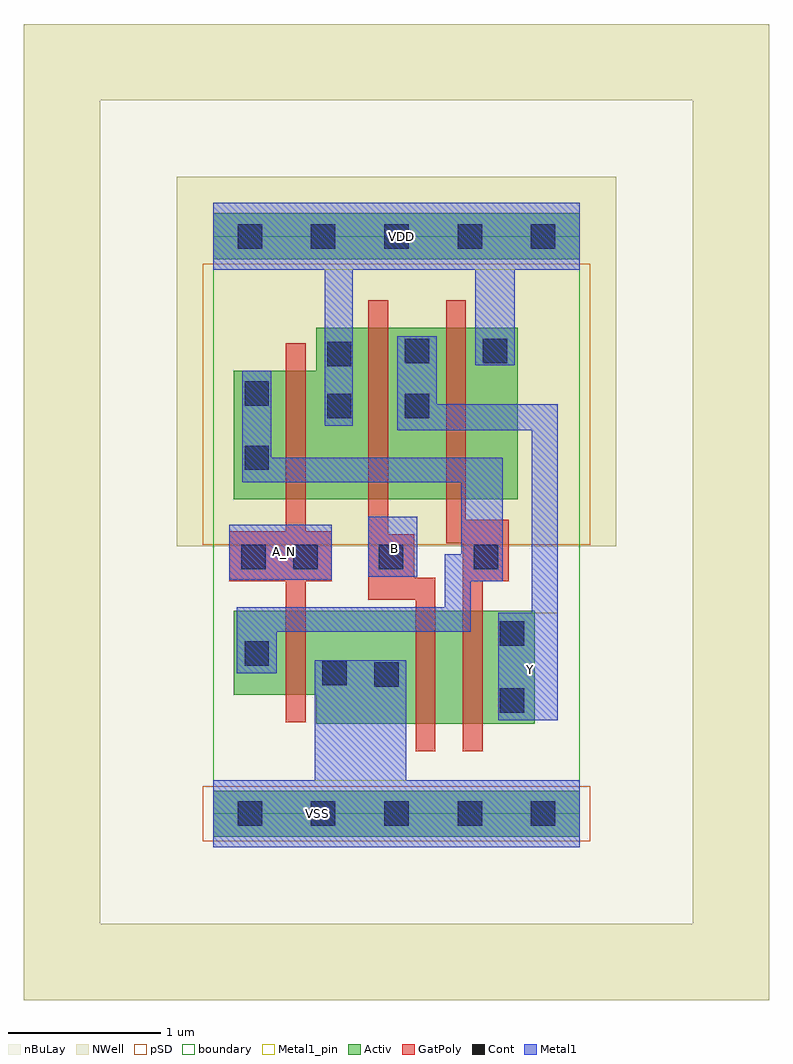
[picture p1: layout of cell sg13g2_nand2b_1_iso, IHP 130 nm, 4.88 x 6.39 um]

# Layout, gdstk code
import gdstk
lib = gdstk.Library(unit=1e-6, precision=1e-09)
def R(c, l, rs):  # rectangles x0, y0, x1, y1
    for r in rs: c.add(gdstk.rectangle(r[:2], r[2:], *l))
def P(c, l, *ps):  # polygons
    for p in ps: c.add(gdstk.Polygon(p, *l))
Activ = (1, 0)
GatPoly = (5, 0)
Cont = (6, 0)
Metal1 = (8, 0)
Metal1_pin = (8, 2)
pSD = (14, 0)
NWell = (31, 0)
nBuLay = (32, 0)
boundary = (189, 4)

sg13g2_nand2b_1_iso = lib.new_cell('sg13g2_nand2b_1_iso')
R(sg13g2_nand2b_1_iso, Activ, [(0,-0.15,2.4,0.15), (0,3.63,2.4,3.93)])
P(sg13g2_nand2b_1_iso, Activ, [(1.995,3.18),(0.675,3.18),(0.675,2.9),(0.135,2.9),(0.135,2.06),(1.995,2.06)],
  [(2.105,1.33),(0.135,1.33),(0.135,0.78),(0.675,0.78),(0.675,0.59),(2.105,0.59)])
P(sg13g2_nand2b_1_iso, GatPoly, [(1.935,1.925),(1.655,1.925),(1.655,3.36),(1.525,3.36),(1.525,1.77),(1.635,1.77),(1.635,0.41),(1.765,0.41),(1.765,1.52),(1.935,1.52)],
  [(1.455,1.545),(1.315,1.545),(1.315,1.83),(1.145,1.83),(1.145,3.36),(1.015,3.36),(1.015,1.4),(1.325,1.4),(1.325,0.41),(1.455,0.41)],
  [(0.775,1.85),(0.605,1.85),(0.605,3.08),(0.475,3.08),(0.475,1.85),(0.105,1.85),(0.105,1.52),(0.475,1.52),(0.475,0.6),(0.605,0.6),(0.605,1.52),(0.775,1.52)])
R(sg13g2_nand2b_1_iso, Cont, [(0.16,-0.08,0.32,0.08), (0.16,-0.08,0.32,0.08), (0.64,-0.08,0.8,0.08), (0.64,-0.08,0.8,0.08), (1.12,-0.08,1.28,0.08), (1.12,-0.08,1.28,0.08), (1.6,-0.08,1.76,0.08), (1.6,-0.08,1.76,0.08), (2.08,-0.08,2.24,0.08), (2.08,-0.08,2.24,0.08), (1.875,0.66,2.035,0.82), (1.055,0.83,1.215,0.99), (0.715,0.84,0.875,1), (0.205,0.97,0.365,1.13), (1.875,1.1,2.035,1.26), (0.185,1.6,0.345,1.76), (0.525,1.6,0.685,1.76), (1.085,1.6,1.245,1.76), (1.705,1.6,1.865,1.76), (0.205,2.25,0.365,2.41), (0.745,2.59,0.905,2.75), (1.255,2.59,1.415,2.75), (0.205,2.67,0.365,2.83), (0.745,2.93,0.905,3.09), (1.255,2.95,1.415,3.11), (1.765,2.95,1.925,3.11), (0.16,3.7,0.32,3.86), (0.16,3.7,0.32,3.86), (0.64,3.7,0.8,3.86), (0.64,3.7,0.8,3.86), (1.12,3.7,1.28,3.86), (1.12,3.7,1.28,3.86), (1.6,3.7,1.76,3.86), (1.6,3.7,1.76,3.86), (2.08,3.7,2.24,3.86), (2.08,3.7,2.24,3.86)])
R(sg13g2_nand2b_1_iso, Metal1, [(0.105,1.53,0.775,1.89), (1.015,1.55,1.335,1.945)])
P(sg13g2_nand2b_1_iso, Metal1, [(1.205,2.51),(1.205,3.125),(1.465,3.125),(1.465,2.68),(2.255,2.68),(2.255,0.61),(1.865,0.61),(1.865,1.315),(2.085,1.315),(2.085,2.51)],
  [(0.665,0.22),(0.665,1.005),(1.265,1.005),(1.265,0.22),(2.4,0.22),(2.4,-0.22),(0,-0.22),(0,0.22)],
  [(0.73,2.54),(0.73,3.56),(0,3.56),(0,4),(2.4,4),(2.4,3.56),(1.975,3.56),(1.975,2.935),(1.715,2.935),(1.715,3.56),(0.915,3.56),(0.915,2.54)],
  [(1.895,2.33),(0.38,2.33),(0.38,2.9),(0.19,2.9),(0.19,2.17),(1.625,2.17),(1.625,1.7),(1.515,1.7),(1.515,1.35),(0.155,1.35),(0.155,0.92),(0.415,0.92),(0.415,1.19),(1.685,1.19),(1.685,1.52),(1.895,1.52)])
R(sg13g2_nand2b_1_iso, Metal1_pin, [(0,-0.22,2.4,0.22), (1.865,0.61,2.255,1.315), (0.105,1.53,0.775,1.89), (1.015,1.55,1.335,1.945), (0,3.56,2.4,4)])
R(sg13g2_nand2b_1_iso, pSD, [(-0.07,-0.18,2.47,0.18), (-0.07,1.76,2.47,3.6)])
R(sg13g2_nand2b_1_iso, NWell, [(-1.24,-1.22,3.64,-0.72), (-1.24,-0.72,-0.74,4.67), (3.14,-0.72,3.64,4.67), (-0.24,1.75,2.64,4.17), (-1.24,4.67,3.64,5.17)])
P(sg13g2_nand2b_1_iso, nBuLay, [(3.64,5.17),(-1.24,5.17),(-1.24,3.63),(0,3.63),(0,3.93),(2.4,3.93),(2.4,3.63),(0,3.63),(-1.24,3.63),(-1.24,-1.22),(3.64,-1.22)])
R(sg13g2_nand2b_1_iso, boundary, [(0,0,2.4,3.78)])
sg13g2_nand2b_1_iso.add(gdstk.Label('VSS', (0.685,0), layer=8, texttype=25))
sg13g2_nand2b_1_iso.add(gdstk.Label('A_N', (0.465,1.715), layer=8, texttype=25))
sg13g2_nand2b_1_iso.add(gdstk.Label('Y', (2.08,0.945), layer=8, texttype=25))
sg13g2_nand2b_1_iso.add(gdstk.Label('B', (1.19,1.735), layer=8, texttype=25))
sg13g2_nand2b_1_iso.add(gdstk.Label('VDD', (1.235,3.78), layer=8, texttype=25))

lib.write_gds('sg13g2_nand2b_1_iso.gds')
